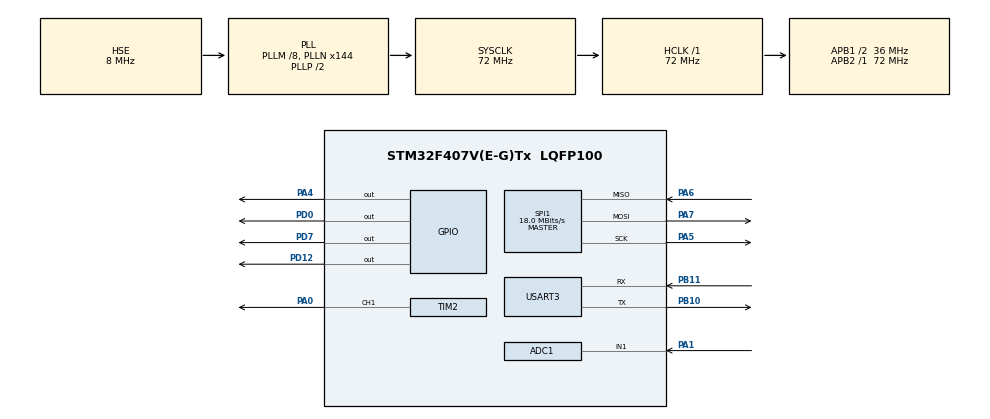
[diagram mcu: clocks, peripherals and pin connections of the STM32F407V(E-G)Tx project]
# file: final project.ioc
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Mcu.Family=STM32F4
RCC.PLLSourceVirtual=RCC_PLLSOURCE_HSE
PC15-OSC32_OUT.Mode=LSE-External-Oscillator
PA6.Mode=Full_Duplex_Master
PH0-OSC_IN.Signal=RCC_OSC_IN
VP_SYS_VS_tim6.Mode=TIM6
RCC.CortexFreq_Value=72000000
ADC1.Rank-0\#ChannelRegularConversion=1
PA7.Mode=Full_Duplex_Master
TIM2.CounterMode=TIM_COUNTERMODE_UP
SPI1.VirtualType=VM_MASTER
PB10.Mode=Asynchronous
ADC1.ContinuousConvMode=DISABLE
NVIC.TIM6_DAC_IRQn=true\:0\:0\:false\:false\:true\:false\:true
PD7.Signal=GPIO_Output
RCC.APB1CLKDivider=RCC_HCLK_DIV2
PC14-OSC32_IN.Signal=RCC_OSC32_IN
PB11.Signal=USART3_RX
RCC.SYSCLKSource=RCC_SYSCLKSOURCE_PLLCLK
ProjectManager.StackSize=0x400
PA0-WKUP.Signal=S_TIM2_CH1_ETR
PA13.Signal=SYS_JTMS-SWDIO
NVIC.ADC_IRQn=true\:6\:0\:true\:false\:true\:true\:true
PB11.Mode=Asynchronous
ProjectManager.TargetToolchain=STM32CubeIDE
SPI1.Direction=SPI_DIRECTION_2LINES
RCC.HCLKFreq_Value=72000000
RCC.APB2TimFreq_Value=72000000
SPI1.CalculateBaudRate=18.0 MBits/s
PD0.Signal=GPIO_Output
PC15-OSC32_OUT.Signal=RCC_OSC32_OUT
PA1.Signal=ADCx_IN1
RCC.AHBFreq_Value=72000000
PH0-OSC_IN.Mode=HSE-External-Oscillator
PB10.Signal=USART3_TX
PA5.Signal=SPI1_SCK
ADC1.Channel-0\#ChannelRegularConversion=ADC_CHANNEL_1
RCC.HSE_VALUE=8000000
ADC1.ScanConvMode=DISABLE
board=custom
RCC.VCOOutputFreq_Value=144000000
RCC.APB2Freq_Value=72000000
PC14-OSC32_IN.Mode=LSE-External-Oscillator
VP_TIM2_VS_ClockSourceINT.Mode=Internal
SPI1.Mode=SPI_MODE_MASTER
PA14.Mode=Serial_Wire
TIM3.Prescaler=72-1
NVIC.TIM2_IRQn=true\:0\:0\:false\:false\:true\:true\:true
PH1-OSC_OUT.Signal=RCC_OSC_OUT
TIM2.Channel-PWM\ Generation1\ CH1=TIM_CHANNEL_1
TIM2.Period=1000-1
PA13.Mode=Serial_Wire
Mcu.Name=STM32F407V(E-G)Tx
ADC1.SamplingTime-0\#ChannelRegularConversion=ADC_SAMPLETIME_3CYCLES
PH1-OSC_OUT.Mode=HSE-External-Oscillator
RCC.48MHZClocksFreq_Value=36000000
PA4.Signal=GPIO_Output
RCC.SYSCLKFreq_VALUE=72000000
Mcu.Package=LQFP100
TIM2.Prescaler=1440
PA6.Signal=SPI1_MISO
ADC1.master=1
NVIC.TimeBase=TIM6_DAC_IRQn
USART3.VirtualMode=VM_ASYNC
PD12.Signal=GPIO_Output
SH.S_TIM2_CH1_ETR.0=TIM2_CH1,PWM Generation1 CH1
NVIC.TimeBaseIP=TIM6
PA14.Signal=SYS_JTCK-SWCLK
ProjectManager.HeapSize=0x200
RCC.HSI_VALUE=16000000
NVIC.PriorityGroup=NVIC_PRIORITYGROUP_4
ADC1.NbrOfConversionFlag=1
SH.ADCx_IN1.0=ADC1_IN1,IN1
RCC.PLLM=8
RCC.PLLN=144
RCC.APB1TimFreq_Value=72000000
RCC.APB1Freq_Value=36000000
SPI1.BaudRatePrescaler=SPI_BAUDRATEPRESCALER_4
VP_TIM3_VS_ClockSourceINT.Mode=Internal
PA7.Signal=SPI1_MOSI
PA5.Mode=Full_Duplex_Master

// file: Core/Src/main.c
/* USER CODE BEGIN Header */
/**
  ******************************************************************************
  * @file           : main.c
  * @brief          : Main program body
  ******************************************************************************
  * @attention
  *
  * <h2><center>&copy; Copyright (c) 2021 STMicroelectronics.
  * All rights reserved.</center></h2>
  *
  * This software component is licensed by ST under BSD 3-Clause license,
  * the "License"; You may not use this file except in compliance with the
  * License. You may obtain a copy of the License at:
  *                        opensource.org/licenses/BSD-3-Clause
  *
  ******************************************************************************
  */
/* USER CODE END Header */
#include "main.h"

/* USER CODE BEGIN Includes */
#include "FreeRTOS.h"
#include "task.h"
#include <stdio.h>
#include <string.h>
#include "semphr.h"
//#include "STM_ENC28_J60.h"

#include "webServer.h"
#include <stdlib.h>
#include <stdarg.h>
/* USER CODE END Includes */

/* USER CODE BEGIN PTD */
uint16_t adc_value;
uint8_t flag = 0;

int waterlevel;
/* USER CODE END PTD */

ADC_HandleTypeDef hadc1;

SPI_HandleTypeDef hspi1;

TIM_HandleTypeDef htim2;
TIM_HandleTypeDef htim3;

UART_HandleTypeDef huart3;

/* USER CODE BEGIN PV */
char writeValue[60];
//char template[800];
char redi[500];
char data[80];

char front[500];
char back[300];

int i;
uint16_t cntBytesTX = 0;
uint32_t sampleTX = 0;
uint8_t S1 = 0;
uint8_t S2 = 0;
uint8_t S3 = 0;

char *request;

uint8_t spiData[2];

// network configuration
uint8_t mac[] = { 0xDE, 0xAD, 0xBE, 0xEF, 0xFE, 0xED };
uint8_t ip[] = { 192, 168, 0, 116 };
uint16_t port = 80;
/* USER CODE END PV */

void SystemClock_Config(void);
static void MX_GPIO_Init(void);
static void MX_TIM2_Init(void);
static void MX_ADC1_Init(void);
static void MX_USART3_UART_Init(void);
static void MX_SPI1_Init(void);
static void MX_TIM3_Init(void);
/* USER CODE BEGIN PFP */
void servo_Motor(void *parameters);
void vHandlerTask(void *parameters);
//void water_height(void);
void HAL_ADC_ConvCpltCallback(ADC_HandleTypeDef* hadc);

void frottemp();
void backtemp();

void redirect(void);
//void homePage(void);
void server(void *parameters);

SemaphoreHandle_t xSemaphore;
/* USER CODE END PFP */

int main(void)
{

  /* MCU Configuration--------------------------------------------------------*/

  /* Reset of all peripherals, Initializes the Flash interface and the Systick. */
  HAL_Init();

  /* Configure the system clock */
  SystemClock_Config();

  /* Initialize all configured peripherals */
  MX_GPIO_Init();
  MX_TIM2_Init();
  MX_ADC1_Init();
  MX_USART3_UART_Init();
  MX_SPI1_Init();
  MX_TIM3_Init();
  /* USER CODE BEGIN 2 */
  HAL_TIM_Base_Start(&htim3);
  setup_server(mac, ip, port);
//  homePage();

//  FILE *fp;
//  fp = fopen("/fronttemp.html", "r");
//  if(fp == NULL){
//      printf("Can't open file\n'");
//      return -1;
//  }
//  fread(front, sizeof(char), 500,fp);
//  fclose(fp);
//  fp = fopen("/rediect.html", "r");
//  fread(redi, sizeof(char), 500,fp);
//  fclose(fp);

  redirect();
  frottemp();
  backtemp();

  xSemaphore = xSemaphoreCreateBinary();

  memset(&writeValue,0,sizeof(writeValue));
//  ENC28_Init();
  HAL_TIM_PWM_Start(&htim2,TIM_CHANNEL_1);
//  xTaskCreate(servo_Motor,"servoMotor",1000,NULL,1,NULL);
  xTaskCreate(vHandlerTask,"Handler_Task",1000,NULL,1,NULL);
  xTaskCreate(server,"WebServer",3000,NULL,2,NULL);
  vTaskStartScheduler();
  /* USER CODE END 2 */

  /* Infinite loop */
  while (1)
  {

    /* USER CODE BEGIN 3 */
//	  ENC28_packetSend(42,ARP_req);
//	  HAL_Delay(2000);
//	  water_height();
  }
  /* USER CODE END 3 */
}

void SystemClock_Config(void)
{
  RCC_OscInitTypeDef RCC_OscInitStruct = {0};
  RCC_ClkInitTypeDef RCC_ClkInitStruct = {0};

  /** Configure the main internal regulator output voltage
  */
  __HAL_RCC_PWR_CLK_ENABLE();
  __HAL_PWR_VOLTAGESCALING_CONFIG(PWR_REGULATOR_VOLTAGE_SCALE1);
  /** Initializes the RCC Oscillators according to the specified parameters
  * in the RCC_OscInitTypeDef structure.
  */
  RCC_OscInitStruct.OscillatorType = RCC_OSCILLATORTYPE_HSE;
  RCC_OscInitStruct.HSEState = RCC_HSE_ON;
  RCC_OscInitStruct.PLL.PLLState = RCC_PLL_ON;
  RCC_OscInitStruct.PLL.PLLSource = RCC_PLLSOURCE_HSE;
  RCC_OscInitStruct.PLL.PLLM = 8;
  RCC_OscInitStruct.PLL.PLLN = 144;
  RCC_OscInitStruct.PLL.PLLP = RCC_PLLP_DIV2;
  RCC_OscInitStruct.PLL.PLLQ = 4;
  if (HAL_RCC_OscConfig(&RCC_OscInitStruct) != HAL_OK)
  {
    Error_Handler();
  }
  /** Initializes the CPU, AHB and APB buses clocks
  */
  RCC_ClkInitStruct.ClockType = RCC_CLOCKTYPE_HCLK|RCC_CLOCKTYPE_SYSCLK
                              |RCC_CLOCKTYPE_PCLK1|RCC_CLOCKTYPE_PCLK2;
  RCC_ClkInitStruct.SYSCLKSource = RCC_SYSCLKSOURCE_PLLCLK;
  RCC_ClkInitStruct.AHBCLKDivider = RCC_SYSCLK_DIV1;
  RCC_ClkInitStruct.APB1CLKDivider = RCC_HCLK_DIV2;
  RCC_ClkInitStruct.APB2CLKDivider = RCC_HCLK_DIV1;

  if (HAL_RCC_ClockConfig(&RCC_ClkInitStruct, FLASH_LATENCY_2) != HAL_OK)
  {
    Error_Handler();
  }
}

static void MX_ADC1_Init(void)
{

  ADC_ChannelConfTypeDef sConfig = {0};

  /** Configure the global features of the ADC (Clock, Resolution, Data Alignment and number of conversion)
  */
  hadc1.Instance = ADC1;
  hadc1.Init.ClockPrescaler = ADC_CLOCK_SYNC_PCLK_DIV2;
  hadc1.Init.Resolution = ADC_RESOLUTION_12B;
  hadc1.Init.ScanConvMode = DISABLE;
  hadc1.Init.ContinuousConvMode = DISABLE;
  hadc1.Init.DiscontinuousConvMode = DISABLE;
  hadc1.Init.ExternalTrigConvEdge = ADC_EXTERNALTRIGCONVEDGE_NONE;
  hadc1.Init.ExternalTrigConv = ADC_SOFTWARE_START;
  hadc1.Init.DataAlign = ADC_DATAALIGN_RIGHT;
  hadc1.Init.NbrOfConversion = 1;
  hadc1.Init.DMAContinuousRequests = DISABLE;
  hadc1.Init.EOCSelection = ADC_EOC_SINGLE_CONV;
  if (HAL_ADC_Init(&hadc1) != HAL_OK)
  {
    Error_Handler();
  }
  /** Configure for the selected ADC regular channel its corresponding rank in the sequencer and its sample time.
  */
  sConfig.Channel = ADC_CHANNEL_1;
  sConfig.Rank = 1;
  sConfig.SamplingTime = ADC_SAMPLETIME_3CYCLES;
  if (HAL_ADC_ConfigChannel(&hadc1, &sConfig) != HAL_OK)
  {
    Error_Handler();
  }

}

static void MX_SPI1_Init(void)
{

  /* SPI1 parameter configuration*/
  hspi1.Instance = SPI1;
  hspi1.Init.Mode = SPI_MODE_MASTER;
  hspi1.Init.Direction = SPI_DIRECTION_2LINES;
  hspi1.Init.DataSize = SPI_DATASIZE_8BIT;
  hspi1.Init.CLKPolarity = SPI_POLARITY_LOW;
  hspi1.Init.CLKPhase = SPI_PHASE_1EDGE;
  hspi1.Init.NSS = SPI_NSS_SOFT;
  hspi1.Init.BaudRatePrescaler = SPI_BAUDRATEPRESCALER_4;
  hspi1.Init.FirstBit = SPI_FIRSTBIT_MSB;
  hspi1.Init.TIMode = SPI_TIMODE_DISABLE;
  hspi1.Init.CRCCalculation = SPI_CRCCALCULATION_DISABLE;
  hspi1.Init.CRCPolynomial = 10;
  if (HAL_SPI_Init(&hspi1) != HAL_OK)
  {
    Error_Handler();
  }

}

static void MX_TIM2_Init(void)
{

  TIM_ClockConfigTypeDef sClockSourceConfig = {0};
  TIM_MasterConfigTypeDef sMasterConfig = {0};
  TIM_OC_InitTypeDef sConfigOC = {0};

  htim2.Instance = TIM2;
  htim2.Init.Prescaler = 1440;
  htim2.Init.CounterMode = TIM_COUNTERMODE_UP;
  htim2.Init.Period = 1000-1;
  htim2.Init.ClockDivision = TIM_CLOCKDIVISION_DIV1;
  htim2.Init.AutoReloadPreload = TIM_AUTORELOAD_PRELOAD_DISABLE;
  if (HAL_TIM_Base_Init(&htim2) != HAL_OK)
  {
    Error_Handler();
  }
  sClockSourceConfig.ClockSource = TIM_CLOCKSOURCE_INTERNAL;
  if (HAL_TIM_ConfigClockSource(&htim2, &sClockSourceConfig) != HAL_OK)
  {
    Error_Handler();
  }
  if (HAL_TIM_PWM_Init(&htim2) != HAL_OK)
  {
    Error_Handler();
  }
  sMasterConfig.MasterOutputTrigger = TIM_TRGO_RESET;
  sMasterConfig.MasterSlaveMode = TIM_MASTERSLAVEMODE_DISABLE;
  if (HAL_TIMEx_MasterConfigSynchronization(&htim2, &sMasterConfig) != HAL_OK)
  {
    Error_Handler();
  }
  sConfigOC.OCMode = TIM_OCMODE_PWM1;
  sConfigOC.Pulse = 0;
  sConfigOC.OCPolarity = TIM_OCPOLARITY_HIGH;
  sConfigOC.OCFastMode = TIM_OCFAST_DISABLE;
  if (HAL_TIM_PWM_ConfigChannel(&htim2, &sConfigOC, TIM_CHANNEL_1) != HAL_OK)
  {
    Error_Handler();
  }
  HAL_TIM_MspPostInit(&htim2);

}

static void MX_TIM3_Init(void)
{

  TIM_ClockConfigTypeDef sClockSourceConfig = {0};
  TIM_MasterConfigTypeDef sMasterConfig = {0};

  htim3.Instance = TIM3;
  htim3.Init.Prescaler = 72-1;
  htim3.Init.CounterMode = TIM_COUNTERMODE_UP;
  htim3.Init.Period = 65535;
  htim3.Init.ClockDivision = TIM_CLOCKDIVISION_DIV1;
  htim3.Init.AutoReloadPreload = TIM_AUTORELOAD_PRELOAD_DISABLE;
  if (HAL_TIM_Base_Init(&htim3) != HAL_OK)
  {
    Error_Handler();
  }
  sClockSourceConfig.ClockSource = TIM_CLOCKSOURCE_INTERNAL;
  if (HAL_TIM_ConfigClockSource(&htim3, &sClockSourceConfig) != HAL_OK)
  {
    Error_Handler();
  }
  sMasterConfig.MasterOutputTrigger = TIM_TRGO_RESET;
  sMasterConfig.MasterSlaveMode = TIM_MASTERSLAVEMODE_DISABLE;
  if (HAL_TIMEx_MasterConfigSynchronization(&htim3, &sMasterConfig) != HAL_OK)
  {
    Error_Handler();
  }

}

static void MX_USART3_UART_Init(void)
{

  huart3.Instance = USART3;
  huart3.Init.BaudRate = 115200;
  huart3.Init.WordLength = UART_WORDLENGTH_8B;
  huart3.Init.StopBits = UART_STOPBITS_1;
  huart3.Init.Parity = UART_PARITY_NONE;
  huart3.Init.Mode = UART_MODE_TX_RX;
  huart3.Init.HwFlowCtl = UART_HWCONTROL_NONE;
  huart3.Init.OverSampling = UART_OVERSAMPLING_16;
  if (HAL_UART_Init(&huart3) != HAL_OK)
  {
    Error_Handler();
  }

}

static void MX_GPIO_Init(void)
{
  GPIO_InitTypeDef GPIO_InitStruct = {0};

  /* GPIO Ports Clock Enable */
  __HAL_RCC_GPIOC_CLK_ENABLE();
  __HAL_RCC_GPIOH_CLK_ENABLE();
  __HAL_RCC_GPIOA_CLK_ENABLE();
  __HAL_RCC_GPIOB_CLK_ENABLE();
  __HAL_RCC_GPIOD_CLK_ENABLE();

  /*Configure GPIO pin Output Level */
  HAL_GPIO_WritePin(GPIOA, GPIO_PIN_4, GPIO_PIN_RESET);

  /*Configure GPIO pin Output Level */
  HAL_GPIO_WritePin(GPIOD, GPIO_PIN_12|GPIO_PIN_0|GPIO_PIN_7, GPIO_PIN_RESET);

  /*Configure GPIO pin : PA4 */
  GPIO_InitStruct.Pin = GPIO_PIN_4;
  GPIO_InitStruct.Mode = GPIO_MODE_OUTPUT_PP;
  GPIO_InitStruct.Pull = GPIO_NOPULL;
  GPIO_InitStruct.Speed = GPIO_SPEED_FREQ_LOW;
  HAL_GPIO_Init(GPIOA, &GPIO_InitStruct);

  /*Configure GPIO pins : PD12 PD0 PD7 */
  GPIO_InitStruct.Pin = GPIO_PIN_12|GPIO_PIN_0|GPIO_PIN_7;
  GPIO_InitStruct.Mode = GPIO_MODE_OUTPUT_PP;
  GPIO_InitStruct.Pull = GPIO_NOPULL;
  GPIO_InitStruct.Speed = GPIO_SPEED_FREQ_LOW;
  HAL_GPIO_Init(GPIOD, &GPIO_InitStruct);

}

/* USER CODE BEGIN 4 */
void servo_Motor(void *parameters){
	for(;;){
	  TIM2->CCR1 = 35;
	  HAL_Delay(2000);
	  TIM2->CCR1 = 60;
	  HAL_Delay(2000);
	}
}

void vHandlerTask(void *parameters){
//void water_height(void){
	for(;;){
	  char show[80];

	  sprintf(show, "Water is detected! The level : %d  The flag = %d \n\r", waterlevel, flag);
	  HAL_UART_Transmit(&huart3, (uint8_t *)show, strlen(show) ,0xffff);
	  if(flag == 1){
		  HAL_GPIO_WritePin(GPIOD,GPIO_PIN_0,GPIO_PIN_SET);

	  }
	  else if(flag == 2){
		  HAL_GPIO_WritePin(GPIOD,GPIO_PIN_0,GPIO_PIN_RESET);
	  }
	  HAL_Delay(100);

	  xSemaphoreGive(xSemaphore);
//	  HAL_ADC_Start_IT(&hadc1);
	}
}

void HAL_ADC_ConvCpltCallback(ADC_HandleTypeDef* hadc)
{
//	BaseType_t xHigherPriorityTaskWoken;
//	xHigherPriorityTaskWoken = pdFALSE;
	adc_value = HAL_ADC_GetValue(hadc);

	waterlevel = adc_value*40/3000;
	if(waterlevel<18)
	{
		waterlevel = 30;
	}
	else if(waterlevel < 30 && waterlevel >= 18){
		waterlevel = 31;
	}

	waterlevel = waterlevel-30;

	if( adc_value < 2200 && adc_value >10){
		flag = 1;
	}
	else if(adc_value > 2700){
		flag = 2;
	}
//	xSemaphoreGiveFromISR( xSemaphore, &xHigherPriorityTaskWoken );
//	portYIELD_FROM_ISR( xHigherPriorityTaskWoken );
}
int adc=0;
void server(void *parameters){

	for(;;){
		adc += 1;
//

		if(xSemaphoreTake(xSemaphore, portMAX_DELAY)){

			request = serviceRequest();
			if(request != NULL){
				if(strcmp(request,"?control=spray")==0){

					TIM2->CCR1 = 35;
					HAL_Delay(1000);
					TIM2->CCR1 = 55;
					HAL_Delay(1000);

					TIM2->CCR1 = 35;
					HAL_Delay(1000);

					print_text(redi);
				}
				else if(strcmp(request,"?control=add")==0){

					HAL_GPIO_WritePin(GPIOD, GPIO_PIN_0, GPIO_PIN_SET);
					HAL_Delay(500);
					HAL_GPIO_WritePin(GPIOD, GPIO_PIN_0, GPIO_PIN_RESET);

					print_text(redi);

				}
				else{
					print_text(front);
				}

//				sprintf(data,"<p>Water is detected! The level : %d ,  the flag = %d</p>", adc_value, flag);
				sprintf(data,"<p>The water level : %d ,  the flag = %d</p>", waterlevel, flag);
				print_text(data);
				print_text(back);

				respond_single();

//				HAL_UART_Transmit(&huart3, (uint8_t *)request, strlen(request) ,0xffff);
			}
			else{
				HAL_ADC_Start_IT(&hadc1);
			}

		}
	}
}
void frottemp(){
    // frontHTML template
	strcat(front,"<!DOCTYPE html>");
	strcat(front,"<html lang=\"en\">");
	strcat(front,"<head>");
	strcat(front,"<meta charset=\"UTF-8\">");
	strcat(front,"<meta http-equiv=\"refresh\" content=\"10; url= http://192.168.0.116\">");
//	strcat(front,"<meta http-equiv=\"refresh\" content=\"10\">");
	strcat(front,"<meta name=\"viewport\" content=\"width=device-width, initial-scale=1.0\">");
	strcat(front,"<title>Auto Irrigation System</title>");
	strcat(front,"</head>");
	strcat(front,"<body>");
	strcat(front,"<h1>Auto Irrigation System</h1>");

    strcat(front,"<form action=\"http://192.168.0.116\" method=\"GET\">");
	strcat(front,"<button name = \"control\" type = \"submit\" value = \"add\">add water</button>");
	strcat(front,"<button name = \"control\" type = \"submit\" value = \"spray\">spray water</button>");
}
void backtemp(){
    // back HTML template
	strcat(back,"</form>");
	strcat(back,"</body>");
	strcat(back,"</html>");
}

void redirect(void){
	strcat(redi,"<!DOCTYPE html>");
	strcat(redi,"<html lang=\"en\">");
	strcat(redi,"<head>");
	strcat(redi,"<meta charset=\"UTF-8\">");
	strcat(redi,"<meta http-equiv=\"refresh\" content=\"0; url= http://192.168.0.116\">");
//	strcat(redi,"<meta http-equiv=\"refresh\" content=\"10\">");
	strcat(redi,"<meta name=\"viewport\" content=\"width=device-width, initial-scale=1.0\">");
	strcat(redi,"<title>Auto Irrigation System</title>");
	strcat(redi,"</head>");
	strcat(redi,"<body>");
	strcat(redi,"<h1>Auto Irrigation System</h1>");
	strcat(redi,"<form action=\"http://192.168.0.116\" method=\"GET\">");
	strcat(redi,"<button name = \"control\" type = \"submit\" value = \"add\">add water</button>");
	strcat(redi,"<button name = \"control\" type = \"submit\" value = \"spray\">spray water</button>");
}

//void homePage(void){
//	strcat(template,"<!DOCTYPE html>");
//	strcat(template,"<html lang=\"en\">");
//	strcat(template,"<head>");
//	strcat(template,"<meta charset=\"UTF-8\">");
//	strcat(template,"<meta http-equiv=\"refresh\" content=\"10\">; url= \"http://192.168.0.116\">");
//	strcat(template,"<meta name=\"viewport\" content=\"width=device-width, initial-scale=1.0\">");
//	strcat(template,"<title>Auto Irrigation System</title>");
//	strcat(template,"</head>");
//	strcat(template,"<body>");
//	strcat(template,"<h1>Auto Irrigation System</h1>");
//	strcat(template,"<form action=\"http://192.168.0.116\" method=\"GET\">");
//	strcat(template,"<button name = \"control\" type = \"submit\" value = \"add\">add water</button>");
//	strcat(template,"<button name = \"control\" type = \"submit\" value = \"spray\">spray water</button>");
//
//
//	strcat(template,"</form>");
//	strcat(template,"</body>");
//	strcat(template,"</html>");
//}

/* USER CODE END 4 */

 /**
  * @brief  Period elapsed callback in non blocking mode
  * @note   This function is called  when TIM6 interrupt took place, inside
  * HAL_TIM_IRQHandler(). It makes a direct call to HAL_IncTick() to increment
  * a global variable "uwTick" used as application time base.
  * @param  htim : TIM handle
  * @retval None
  */
void HAL_TIM_PeriodElapsedCallback(TIM_HandleTypeDef *htim)
{
  if (htim->Instance == TIM6) {
    HAL_IncTick();
  }
}

void Error_Handler(void)
{
  __disable_irq();
  while (1)
  {
  }
}

/************************ (C) COPYRIGHT STMicroelectronics *****END OF FILE****/
